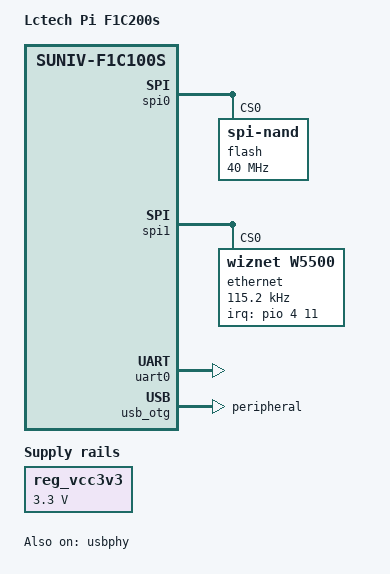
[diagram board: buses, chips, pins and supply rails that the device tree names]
// SPDX-License-Identifier: (GPL-2.0+ OR MIT)
/*
 * Copyright 2022 Arm Ltd,
 * based on work:
 *   Copyright 2022 Icenowy Zheng <uwu@icenowy.me>
 */

/dts-v1/;
#include "suniv-f1c100s.dtsi"

#include <dt-bindings/gpio/gpio.h>
#include <dt-bindings/interrupt-controller/irq.h>


/ {
	model = "Lctech Pi F1C200s";
	compatible = "lctech,pi-f1c200s", "allwinner,suniv-f1c200s",
		     "allwinner,suniv-f1c100s";

	aliases {
		serial0 = &uart0;
	};

	chosen {
		stdout-path = "serial0:115200n8";
	};

	reg_vcc3v3: regulator-3v3 {
		compatible = "regulator-fixed";
		regulator-name = "vcc3v3";
		regulator-min-microvolt = <3300000>;
		regulator-max-microvolt = <3300000>;
	};
};

&otg_sram {
	status = "okay";
};

&spi0 {
	pinctrl-names = "default";
	pinctrl-0 = <&spi0_pc_pins>;
	status = "okay";

	flash@0 {
		compatible = "spi-nand";
		reg = <0>;
		spi-max-frequency = <40000000>;
	};
};

&spi1 {
	pinctrl-names = "default";
	pinctrl-0 = <&spi1_pe_pins>;
	status = "okay";

	ethernet@0 {
		compatible = "wiznet,w5500";
		reg = <0>;
		pinctrl-names = "default";
		pinctrl-0 = <&w5500_pins>;
		interrupt-parent = <&pio>;
		interrupts = <4 11 IRQ_TYPE_EDGE_FALLING>;
		//spi-max-frequency = <30000000>;
		//spi-max-frequency = <3000000>;
		spi-max-frequency = <115200>;
	};
};

&uart0 {
        pinctrl-names = "default";
        pinctrl-0 = <&uart0_pe_pins>;
        status = "okay";
};

/*
 * This is a Type-C socket, but CC1/2 are not connected, and VBUS is connected
 * to Vin, which supplies the board. Host mode works (if the board is powered
 * otherwise), but peripheral is probably the intention.
 */
&usb_otg {
	dr_mode = "peripheral";
	status = "okay";
};

&usbphy {
	status = "okay";
};
